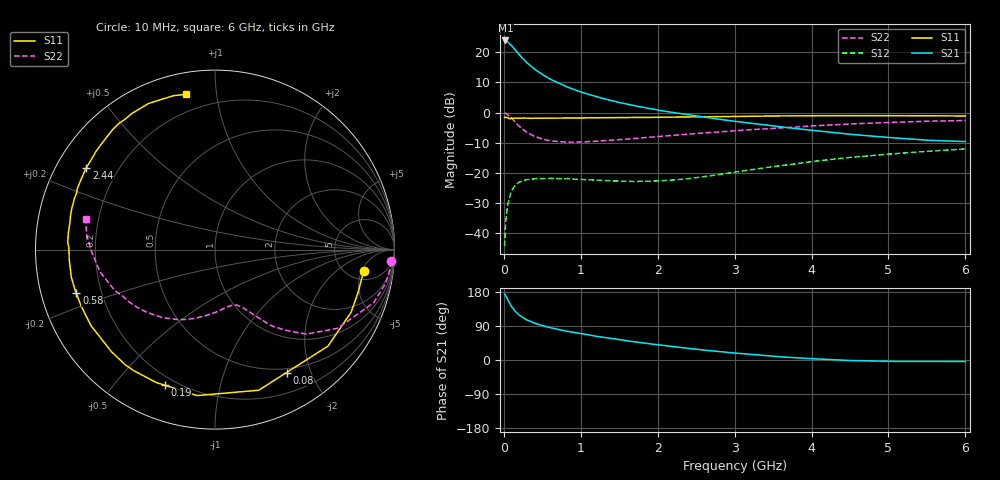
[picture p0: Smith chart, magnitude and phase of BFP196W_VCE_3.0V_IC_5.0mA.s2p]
! Infineon Technologies  Discrete & RF Semiconductors
! BFP196W
! VCE = 3.0 V,  IC = 5.0mA
! Common Emitter S-Parameters:  Jan 2016
# GHz  S  MA  R  50
!  f  S11  S21  S12  S22
! GHz  MAG  ANG  MAG  ANG  MAG  ANG  MAG  ANG
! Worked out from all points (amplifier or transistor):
!   210 points, 10 MHz to 6 GHz, reference 50 ohm
!   highest |S21| = 23.9 dB at 20 MHz (marker M1)
!   |S21| within 3 dB of that: start of sweep to 144.7 MHz
!   unconditionally stable (mu >= 1): 1.423 GHz to 3.312 GHz
!   at 185 MHz: K = 0.14, MSG = 21.5 dB, |S12| = -23.3 dB
!   at 1.52 GHz: K = 1.05, MAG = 11.6 dB, |S12| = -22.7 dB
!   at 6 GHz: K = 0.99, MSG = 1.2 dB, |S12| = -12.0 dB
!   S11 on the Smith chart (normalised r, x): 10 MHz: 6.85, -5.44; 80 MHz: 0.45, -1.65; 190 MHz: 0.16, -0.68; 580 MHz: 0.11, -0.15; 2.44 GHz: 0.09, +0.29; 6 GHz: 0.11, +0.83
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0.01  0.8365 -8.2  15.55 174.1  0.0061 83.1  0.9855 -3.8
0.02  0.8323 -16.6  15.74 171.3  0.0124 81.9  0.9778 -7.7
0.03  0.835 -24.7  15.59 167.2  0.0184 77.6  0.9681 -11.3
0.05  0.8278 -40.5  15.07 158.7  0.0295 69.9  0.9327 -18.5
0.08  0.7924 -59.8  13.66 148.8  0.0415 58.3  0.8534 -26.5
0.1  0.8205 -72.7  12.98 141.1  0.05 53.7  0.8113 -32.7
0.145  0.813 -94.6  11.13 129.3  0.0621 43.2  0.7038 -41.6
0.19  0.8059 -110.4  9.476 120.5  0.0689 36.1  0.6134 -47.6
0.2  0.8095 -113.8  9.133 118.3  0.0704 34.7  0.5942 -49.0
0.24  0.8121 -123.7  8.07 112.9  0.074 30.2  0.5398 -52.7
0.3  0.8101 -135.5  6.72 105.6  0.0775 25.1  0.4695 -56.3
0.4  0.8104 -148.5  5.256 97.1  0.0801 19.6  0.4029 -60.7
0.58  0.81 -162.5  3.747 86.6  0.0812 14.8  0.3471 -66.0
0.8  0.8134 -173.3  2.742 76.6  0.0801 12.6  0.3256 -71.9
1.02  0.8148 179.3  2.163 68.8  0.0777 12.4  0.3264 -78.4
1.44  0.8241 168.3  1.539 55.4  0.0735 16.4  0.3524 -90.9
2.02  0.8394 155.5  1.095 39.8  0.0739 29.1  0.4023 -107.3
2.44  0.8492 147.5  0.903 29.8  0.0815 38.8  0.4443 -118.8
3.1  0.8665 135.5  0.694 16.7  0.1076 47.5  0.5099 -136.2
4.1  0.8889 120.0  0.495 2.6  0.1592 47.0  0.6106 -160.1
5.1  0.8879 108.4  0.379 -3.7  0.2093 39.5  0.6922 179.6
6  0.8798 100.4  0.331 -3.8  0.2504 32.1  0.7406 166.7
